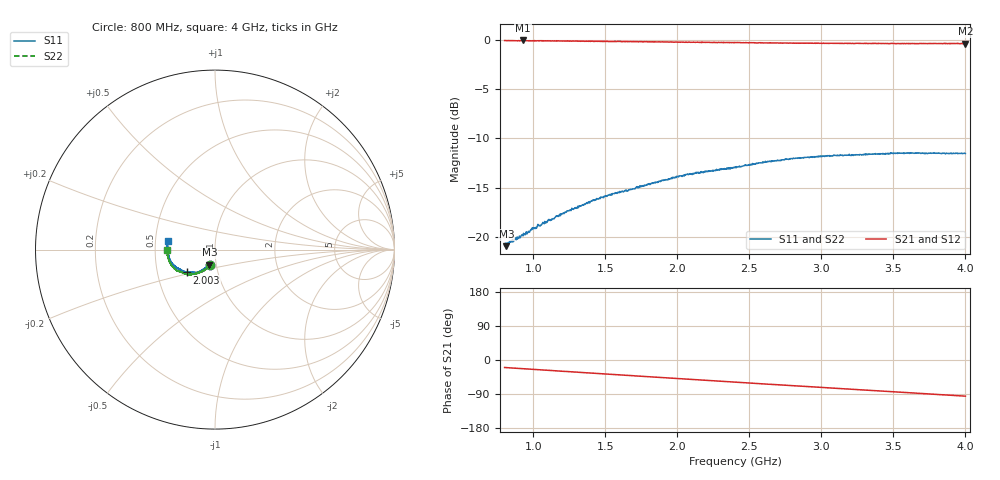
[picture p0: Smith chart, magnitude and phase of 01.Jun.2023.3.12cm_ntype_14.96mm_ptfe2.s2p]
!Keysight Technologies N9950B: A.12.38
!Date: Thursday, 01 June 2023 14:36:59
!Timezone: (UTC-06:00) Central Time (US & Canada)
!Model: N9950B
!Serial: MY61131330
!GPS Latitude:
!GPS Longitude:
!GPS TimeStamp: 0001-01-01 00:00:00Z
!GPS Seconds Since Last Read: 0
!CHECKSUM:1692642286
!Correction: S11(ON U)S21(ON U)S12(ON U)S22(ON U)
!S2P File: Measurements:S11,S21,S12,S22:
# Hz S DB R 50
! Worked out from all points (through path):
!   1001 points, 800 MHz to 4 GHz, reference 50 ohm
!   highest |S21| = -0.02 dB at 928 MHz (marker M1); lowest = -0.4 dB at 4 GHz (marker M2)
!   group delay of S21, straight-line fit = 65.5 ps
!   lowest |S11| = -21.0 dB at 812.8 MHz (marker M3), VSWR 1.20, Z = 46.3 - j7.82 ohm
!   |S11| at or under -10 dB: start of sweep to end of sweep
!   |S22| runs from -21.1 to -11.5 dB; largest |S21 - S12| = 0.0062
!   S11 on the Smith chart (normalised r, x): 800 MHz: 0.93, -0.16; 2.003 GHz: 0.71, -0.19; 4 GHz: 0.58, +0.06
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8e8  -20.92 -109.8  -0.03 -19.8  -0.04 -19.8  -21.10 -109.5
8.128e8  -20.96 -110.6  -0.05 -20.1  -0.07 -20.2  -20.80 -109.6
8.416e8  -20.46 -110.6  -0.04 -20.9  -0.07 -20.9  -20.50 -110.0
8.704e8  -20.26 -110.6  -0.04 -21.6  -0.06 -21.5  -20.29 -110.6
9.28e8  -19.91 -112.6  -0.02 -23.0  -0.08 -23.0  -20.02 -112.3
9.92e8  -19.08 -116.1  -0.05 -24.5  -0.07 -24.6  -19.19 -113.4
1.1488e9  -18.04 -119.8  -0.07 -28.4  -0.09 -28.3  -18.09 -116.1
1.184e9  -17.70 -120.4  -0.08 -29.3  -0.10 -29.2  -17.82 -116.9
1.3344e9  -16.83 -123.3  -0.09 -32.8  -0.12 -32.9  -16.85 -121.6
1.4432e9  -16.16 -125.5  -0.11 -35.6  -0.13 -35.6  -16.20 -124.5
1.5584e9  -15.62 -128.6  -0.13 -38.3  -0.15 -38.4  -15.72 -127.0
1.8688e9  -14.45 -137.8  -0.17 -45.7  -0.19 -45.7  -14.43 -133.2
2.0032e9  -13.90 -141.0  -0.20 -49.0  -0.21 -49.0  -13.90 -135.7
2.1312e9  -13.53 -144.4  -0.21 -51.9  -0.22 -52.1  -13.50 -139.3
2.4e9  -12.89 -150.9  -0.23 -58.3  -0.28 -58.4  -13.03 -145.3
2.6368e9  -12.33 -157.0  -0.29 -64.0  -0.29 -63.9  -12.39 -150.6
2.9344e9  -11.85 -163.8  -0.30 -70.8  -0.33 -70.8  -11.93 -157.3
3.2608e9  -11.65 -172.8  -0.31 -78.4  -0.35 -78.4  -11.67 -163.7
3.4688e9  -11.53 -177.3  -0.34 -83.2  -0.36 -83.1  -11.58 -169.0
3.5456e9  -11.50 -178.9  -0.35 -84.8  -0.37 -85.0  -11.46 -170.4
3.7472e9  -11.50 175.6  -0.33 -89.6  -0.35 -89.5  -11.50 -174.5
4e9  -11.53 169.0  -0.37 -95.4  -0.37 -95.3  -11.52 -179.3
